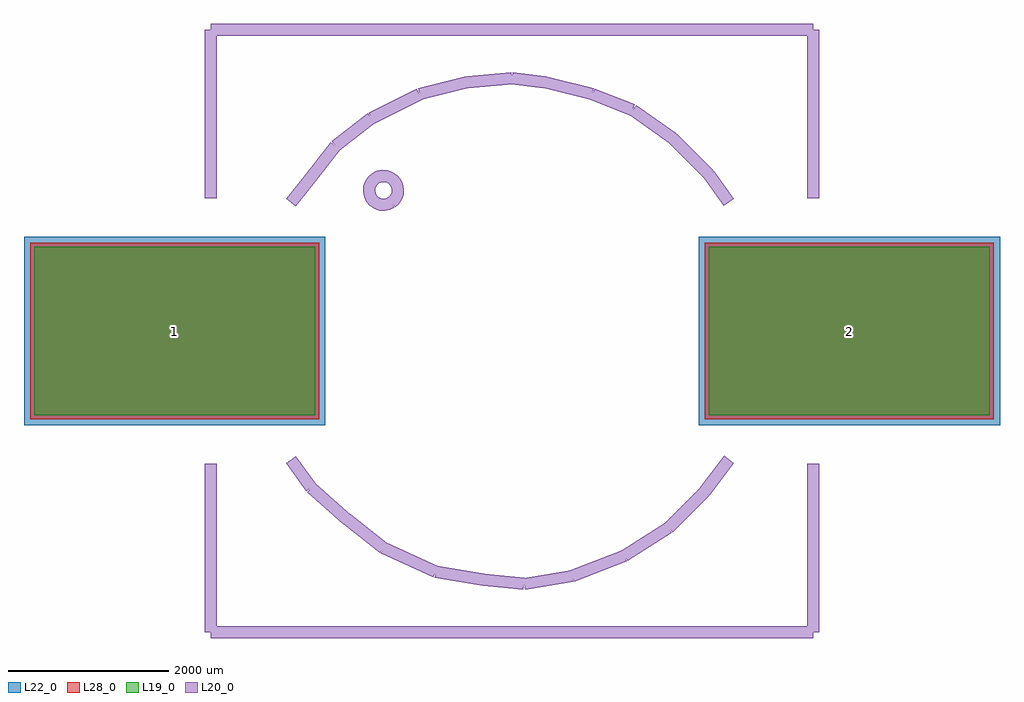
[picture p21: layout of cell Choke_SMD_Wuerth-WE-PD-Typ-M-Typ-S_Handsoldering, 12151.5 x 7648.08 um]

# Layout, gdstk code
import gdstk
lib = gdstk.Library(unit=1e-6, precision=1e-09)
def R(c, l, rs):  # rectangles x0, y0, x1, y1
    for r in rs: c.add(gdstk.rectangle(r[:2], r[2:], *l))
L19_0 = (19, 0)
L20_0 = (20, 0)
L22_0 = (22, 0)
L28_0 = (28, 0)

choke_smd_wuerth_we_pd_t = lib.new_cell('Choke_SMD_Wuerth-WE-PD-Typ-M-Typ-S_Handsoldering')
R(choke_smd_wuerth_we_pd_t, L19_0, [(-5950.75,-1049.82,-2451.57,1049.82), (2451.57,-1049.82,5950.75,1049.82)])
R(choke_smd_wuerth_we_pd_t, L22_0, [(-6075.75,-1174.82,-2326.57,1174.82), (2326.57,-1174.82,6075.75,1174.82)])
R(choke_smd_wuerth_we_pd_t, L28_0, [(-6000.75,-1099.82,-2401.57,1099.82), (2401.57,-1099.82,6000.75,1099.82)])
choke_smd_wuerth_we_pd_t.add(gdstk.FlexPath([(-3749.04,3749.04),(-3749.04,1651)], 149.998, ends="flush", simple_path=True, layer=20, datatype=0))  # L20_0
choke_smd_wuerth_we_pd_t.add(gdstk.FlexPath([(3749.04,3749.04),(-3749.04,3749.04)], 149.998, ends="flush", simple_path=True, layer=20, datatype=0))  # L20_0
choke_smd_wuerth_we_pd_t.add(gdstk.FlexPath([(3749.04,-3749.04),(3749.04,-1651)], 149.998, ends="flush", simple_path=True, layer=20, datatype=0))  # L20_0
choke_smd_wuerth_we_pd_t.add(gdstk.FlexPath([(-3749.04,-3749.04),(3749.04,-3749.04)], 149.998, ends="flush", simple_path=True, layer=20, datatype=0))  # L20_0
choke_smd_wuerth_we_pd_t.add(gdstk.FlexPath([(-3749.04,-1651),(-3749.04,-3749.04)], 149.998, ends="flush", simple_path=True, layer=20, datatype=0))  # L20_0
choke_smd_wuerth_we_pd_t.add(gdstk.FlexPath([(3749.04,3749.04),(3749.04,1651)], 149.998, ends="flush", simple_path=True, layer=20, datatype=0))  # L20_0
choke_smd_wuerth_we_pd_t.add(gdstk.FlexPath([(-2550.16,1849.12),(-2750.82,1600.2)], 149.998, ends="flush", simple_path=True, layer=20, datatype=0))  # L20_0
choke_smd_wuerth_we_pd_t.add(gdstk.FlexPath([(-2199.64,2301.24),(-2550.16,1849.12)], 149.998, ends="flush", simple_path=True, layer=20, datatype=0))  # L20_0
choke_smd_wuerth_we_pd_t.add(gdstk.FlexPath([(-1750.06,2649.22),(-2199.64,2301.24)], 149.998, ends="flush", simple_path=True, layer=20, datatype=0))  # L20_0
choke_smd_wuerth_we_pd_t.add(gdstk.FlexPath([(-1150.62,2948.94),(-1750.06,2649.22)], 149.998, ends="flush", simple_path=True, layer=20, datatype=0))  # L20_0
choke_smd_wuerth_we_pd_t.add(gdstk.FlexPath([(-551.18,3098.8),(-1150.62,2948.94)], 149.998, ends="flush", simple_path=True, layer=20, datatype=0))  # L20_0
choke_smd_wuerth_we_pd_t.add(gdstk.FlexPath([(0,3149.6),(-551.18,3098.8)], 149.998, ends="flush", simple_path=True, layer=20, datatype=0))  # L20_0
choke_smd_wuerth_we_pd_t.add(gdstk.FlexPath([(398.78,3098.8),(0,3149.6)], 149.998, ends="flush", simple_path=True, layer=20, datatype=0))  # L20_0
choke_smd_wuerth_we_pd_t.add(gdstk.FlexPath([(1000.76,2948.94),(398.78,3098.8)], 149.998, ends="flush", simple_path=True, layer=20, datatype=0))  # L20_0
choke_smd_wuerth_we_pd_t.add(gdstk.FlexPath([(1501.14,2750.82),(1000.76,2948.94)], 149.998, ends="flush", simple_path=True, layer=20, datatype=0))  # L20_0
choke_smd_wuerth_we_pd_t.add(gdstk.FlexPath([(1998.98,2400.3),(1501.14,2750.82)], 149.998, ends="flush", simple_path=True, layer=20, datatype=0))  # L20_0
choke_smd_wuerth_we_pd_t.add(gdstk.FlexPath([(2451.1,1950.72),(1998.98,2400.3)], 149.998, ends="flush", simple_path=True, layer=20, datatype=0))  # L20_0
choke_smd_wuerth_we_pd_t.add(gdstk.FlexPath([(2700.02,1600.2),(2451.1,1950.72)], 149.998, ends="flush", simple_path=True, layer=20, datatype=0))  # L20_0
choke_smd_wuerth_we_pd_t.add(gdstk.FlexPath([(2400.3,-1998.98),(2700.02,-1600.2)], 149.998, ends="flush", simple_path=True, layer=20, datatype=0))  # L20_0
choke_smd_wuerth_we_pd_t.add(gdstk.FlexPath([(1950.72,-2451.1),(2400.3,-1998.98)], 149.998, ends="flush", simple_path=True, layer=20, datatype=0))  # L20_0
choke_smd_wuerth_we_pd_t.add(gdstk.FlexPath([(1399.54,-2799.08),(1950.72,-2451.1)], 149.998, ends="flush", simple_path=True, layer=20, datatype=0))  # L20_0
choke_smd_wuerth_we_pd_t.add(gdstk.FlexPath([(749.3,-3050.54),(1399.54,-2799.08)], 149.998, ends="flush", simple_path=True, layer=20, datatype=0))  # L20_0
choke_smd_wuerth_we_pd_t.add(gdstk.FlexPath([(149.86,-3149.6),(749.3,-3050.54)], 149.998, ends="flush", simple_path=True, layer=20, datatype=0))  # L20_0
choke_smd_wuerth_we_pd_t.add(gdstk.FlexPath([(-350.52,-3098.8),(149.86,-3149.6)], 149.998, ends="flush", simple_path=True, layer=20, datatype=0))  # L20_0
choke_smd_wuerth_we_pd_t.add(gdstk.FlexPath([(-949.96,-2999.74),(-350.52,-3098.8)], 149.998, ends="flush", simple_path=True, layer=20, datatype=0))  # L20_0
choke_smd_wuerth_we_pd_t.add(gdstk.FlexPath([(-1600.2,-2700.02),(-949.96,-2999.74)], 149.998, ends="flush", simple_path=True, layer=20, datatype=0))  # L20_0
choke_smd_wuerth_we_pd_t.add(gdstk.FlexPath([(-2049.78,-2349.5),(-1600.2,-2700.02)], 149.998, ends="flush", simple_path=True, layer=20, datatype=0))  # L20_0
choke_smd_wuerth_we_pd_t.add(gdstk.FlexPath([(-2499.36,-1950.72),(-2049.78,-2349.5)], 149.998, ends="flush", simple_path=True, layer=20, datatype=0))  # L20_0
choke_smd_wuerth_we_pd_t.add(gdstk.FlexPath([(-2750.82,-1600.2),(-2499.36,-1950.72)], 149.998, ends="flush", simple_path=True, layer=20, datatype=0))  # L20_0
choke_smd_wuerth_we_pd_t.add(gdstk.FlexPath([(-1501.14,1600.2),(-1465.729,1630.945),(-1439.482,1669.807),(-1424.187,1714.139),(-1420.887,1760.918),(-1429.808,1806.958),(-1450.34,1849.12),(-1481.085,1884.531),(-1519.947,1910.778),(-1564.279,1926.073),(-1611.058,1929.373),(-1657.098,1920.452),(-1699.26,1899.92),(-1734.671,1869.175),(-1760.918,1830.313),(-1776.213,1785.981),(-1779.513,1739.202),(-1770.592,1693.162),(-1750.06,1651),(-1719.315,1615.589),(-1680.453,1589.342),(-1636.121,1574.047),(-1589.342,1570.747),(-1543.302,1579.668),(-1501.14,1600.2)], 149.998, ends="flush", simple_path=True, layer=20, datatype=0))  # L20_0
choke_smd_wuerth_we_pd_t.add(gdstk.Label('2', (4201.16,0), layer=28, texttype=0))
choke_smd_wuerth_we_pd_t.add(gdstk.Label('1', (-4201.16,0), layer=28, texttype=0))
choke_smd_wuerth_we_pd_t.add(gdstk.Label('type', (0,-8890), layer=9, texttype=0))
choke_smd_wuerth_we_pd_t.add(gdstk.Label('devicename', (0,8890), layer=9, texttype=0))

lib.write_gds('Choke_SMD_Wuerth-WE-PD-Typ-M-Typ-S_Handsoldering.gds')
